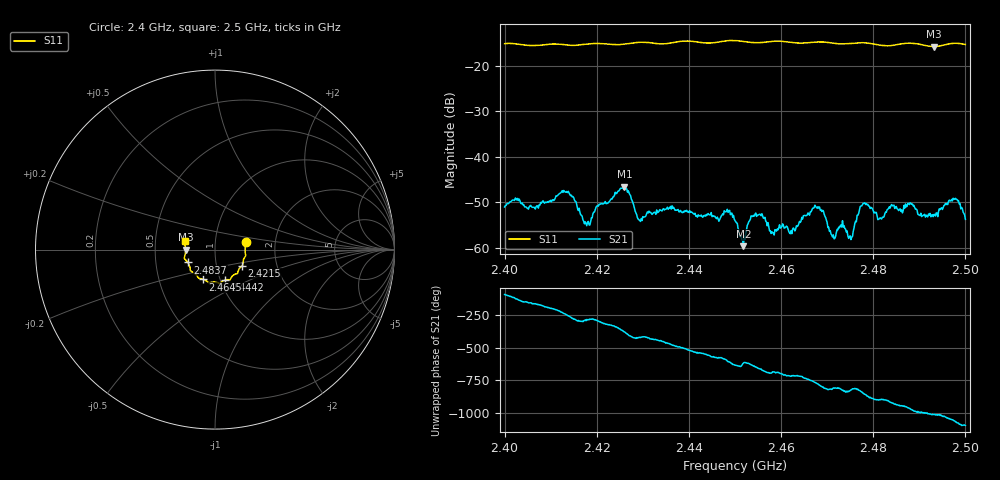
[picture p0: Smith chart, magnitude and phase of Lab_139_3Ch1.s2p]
# Hz S RI R 50
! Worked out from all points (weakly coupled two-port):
!   601 points, 2.4 GHz to 2.5 GHz, reference 50 ohm
!   highest |S21| = -46.53 dB at 2.426 GHz (marker M1); lowest = -59.6 dB at 2.4518 GHz (marker M2)
!   lowest |S11| = -15.7 dB at 2.4932 GHz (marker M3), VSWR 1.39, Z = 36 - j0.058 ohm
!   |S11| at or under -10 dB: start of sweep to end of sweep
!   S12 and S22 are empty: the file has one direction only
!   S11 on the Smith chart (normalised r, x): 2.4 GHz: 1.41, +0.12; 2.4215 GHz: 1.33, -0.25; 2.4442 GHz: 1.05, -0.37; 2.4645 GHz: 0.83, -0.29; 2.4837 GHz: 0.73, -0.11; 2.5 GHz: 0.71, +0.07
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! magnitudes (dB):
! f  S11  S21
! 2.4 GHz  -15.1  -51.0
! 2.4133 GHz  -15.4  -47.8
! 2.4167 GHz  -15.3  -52.8
! 2.4182 GHz  -15.2  -54.2
! 2.4215 GHz  -15.1  -50.2
! 2.426 GHz  -15.2  -46.5
! 2.4293 GHz  -14.8  -54.0
! 2.4333 GHz  -15.1  -52.2
! 2.4442 GHz  -15.0  -52.4
! 2.45 GHz  -14.4  -54.0
! 2.4518 GHz  -14.6  -59.6
! 2.454 GHz  -14.9  -52.8
! 2.458 GHz  -14.6  -56.4
! 2.4645 GHz  -15.0  -53.3
! 2.4667 GHz  -14.8  -51.7
! 2.475 GHz  -15.1  -57.3
! 2.4777 GHz  -14.9  -50.4
! 2.4833 GHz  -15.5  -51.4
! 2.4837 GHz  -15.5  -51.2
! 2.4932 GHz  -15.7  -52.6
! 2.4978 GHz  -15.0  -49.1
! 2.5 GHz  -15.3  -53.7
